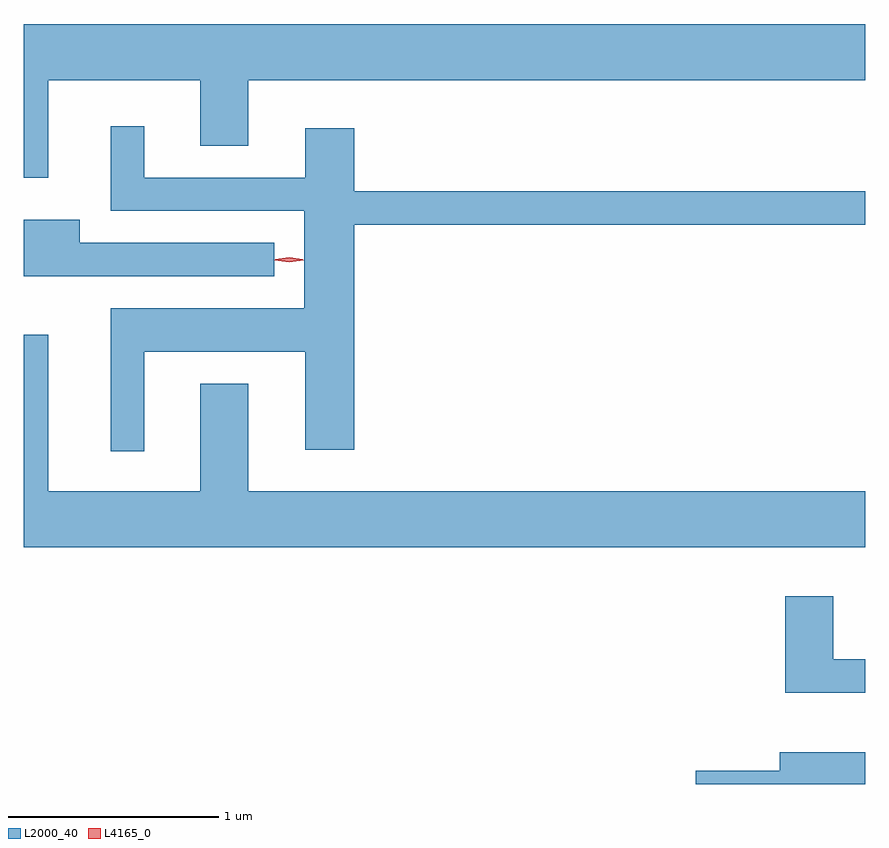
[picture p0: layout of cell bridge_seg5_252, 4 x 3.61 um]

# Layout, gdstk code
import gdstk
lib = gdstk.Library(unit=1e-6, precision=1e-09)
def P(c, l, *ps):  # polygons
    for p in ps: c.add(gdstk.Polygon(p, *l))
L2000_40 = (2000, 40)
L4165_0 = (4165, 0)

bridge_seg5_252 = lib.new_cell('bridge_seg5_252')
P(bridge_seg5_252, L2000_40, [(881.149,1463.456),(881.871,1463.456),(881.871,1463.146),(882.099,1463.146),(882.099,1463.456),(885.032,1463.456),(885.032,1463.724),(881.032,1463.724),(881.032,1462.993),(881.149,1462.993)],
  [(881.604,1462.166),(882.371,1462.166),(882.371,1461.701),(882.604,1461.701),(882.604,1462.771),(885.032,1462.771),(885.032,1462.929),(882.604,1462.929),(882.604,1463.229),(882.371,1463.229),(882.371,1462.994),(881.604,1462.994),(881.604,1463.238),(881.446,1463.238),(881.446,1462.836),(882.366,1462.836),(882.366,1462.374),(881.446,1462.374),(881.446,1461.693),(881.604,1461.693)],
  [(882.223,1462.684),(881.299,1462.684),(881.299,1462.794),(881.032,1462.794),(881.032,1462.526),(882.223,1462.526)],
  [(885.032,1461.504),(882.099,1461.504),(882.099,1462.014),(881.871,1462.014),(881.871,1461.504),(881.149,1461.504),(881.149,1462.248),(881.032,1462.248),(881.032,1461.236),(885.032,1461.236)],
  [(885.032,1460.704),(884.879,1460.704),(884.879,1461.004),(884.651,1461.004),(884.651,1460.546),(885.032,1460.546)],
  [(885.032,1460.264),(884.626,1460.264),(884.626,1460.174),(884.226,1460.174),(884.226,1460.112),(885.032,1460.112)])
P(bridge_seg5_252, L4165_0, [(882.293,1462.595),(882.228,1462.604),(882.227,1462.605),(882.228,1462.605),(882.293,1462.615),(882.359,1462.605),(882.359,1462.605),(882.359,1462.604)],
  [(882.293,1462.591),(882.224,1462.601),(882.224,1462.601),(882.224,1462.602),(882.293,1462.611),(882.362,1462.602),(882.363,1462.601),(882.362,1462.601)])

lib.write_gds('bridge_seg5_252.gds')
